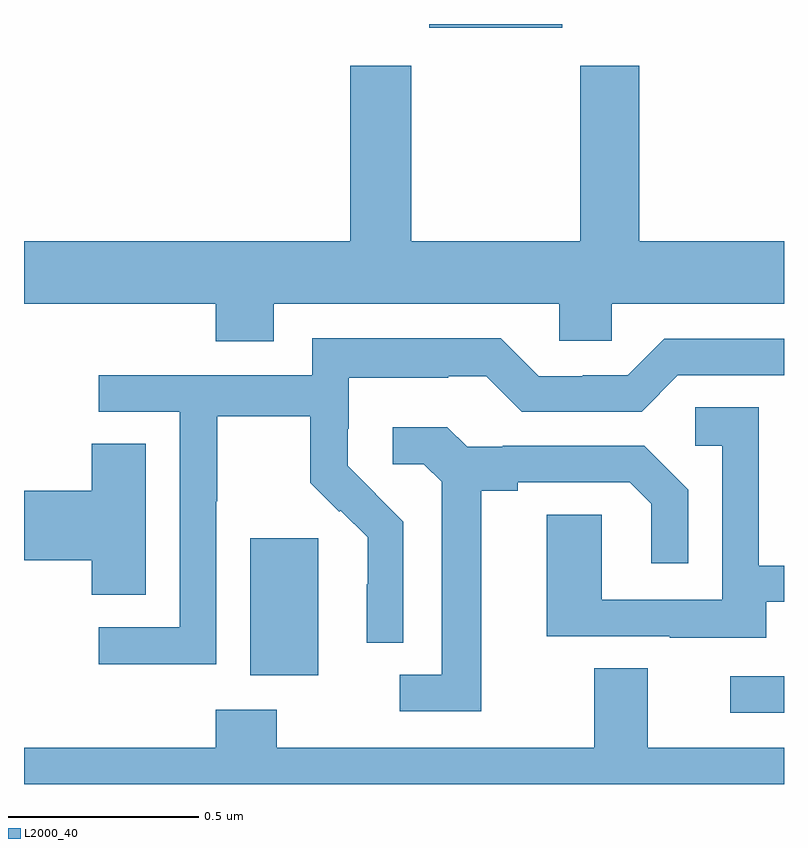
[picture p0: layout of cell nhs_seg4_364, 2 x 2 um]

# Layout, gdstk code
import gdstk
lib = gdstk.Library(unit=1e-6, precision=1e-09)
def R(c, l, rs):  # rectangles x0, y0, x1, y1
    for r in rs: c.add(gdstk.rectangle(r[:2], r[2:], *l))
def P(c, l, *ps):  # polygons
    for p in ps: c.add(gdstk.Polygon(p, *l))
L2000_40 = (2000, 40)

nhs_seg4_364 = lib.new_cell('nhs_seg4_364')
R(nhs_seg4_364, L2000_40, [(116.859,785.088,117,785.184), (115.595,785.186,115.774,785.547), (116.066,786.89,116.416,786.9)])
P(nhs_seg4_364, L2000_40, [(115.657,786.164),(116.409,786.164),(116.409,786.066),(116.547,786.066),(116.547,786.164),(117,786.164),(117,786.328),(116.619,786.328),(116.619,786.79),(116.464,786.79),(116.464,786.328),(116.019,786.328),(116.019,786.79),(115.859,786.79),(115.859,786.328),(115,786.328),(115,786.164),(115.505,786.164),(115.505,786.065),(115.657,786.065)],
  [(115.506,785.644),(115.509,785.644),(115.509,785.868),(115.753,785.868),(115.753,785.693),(115.83,785.616),(115.833,785.619),(115.904,785.549),(115.904,785.426),(115.902,785.426),(115.902,785.272),(115.998,785.272),(115.998,785.59),(115.925,785.663),(115.926,785.664),(115.852,785.738),(115.852,785.835),(115.854,785.835),(115.854,785.969),(116.117,785.969),(116.117,785.973),(116.217,785.973),(116.31,785.88),(116.625,785.88),(116.721,785.976),(117,785.976),(117,786.072),(116.685,786.072),(116.589,785.976),(116.471,785.976),(116.471,785.973),(116.355,785.973),(116.255,786.073),(115.758,786.073),(115.758,785.976),(115.197,785.976),(115.197,785.88),(115.41,785.88),(115.41,785.313),(115.197,785.313),(115.197,785.215),(115.506,785.215)],
  [(116.953,785.379),(117,785.379),(117,785.475),(116.934,785.475),(116.934,785.891),(116.766,785.891),(116.766,785.79),(116.838,785.79),(116.838,785.385),(116.52,785.385),(116.52,785.609),(116.375,785.609),(116.375,785.289),(116.699,785.289),(116.699,785.285),(116.953,785.285)],
  [(116.203,785.672),(116.299,785.672),(116.299,785.694),(116.594,785.694),(116.651,785.637),(116.651,785.481),(116.748,785.481),(116.748,785.674),(116.632,785.79),(116.26,785.79),(116.26,785.787),(116.166,785.787),(116.114,785.839),(115.971,785.839),(115.971,785.742),(116.052,785.742),(116.099,785.695),(116.099,785.187),(115.989,785.187),(115.989,785.091),(116.203,785.091)],
  [(115.321,785.795),(115.178,785.795),(115.178,785.672),(115,785.672),(115,785.489),(115.178,785.489),(115.178,785.398),(115.321,785.398)],
  [(117,784.996),(116.641,784.996),(116.641,785.204),(116.501,785.204),(116.501,784.996),(115.665,784.996),(115.665,785.095),(115.505,785.095),(115.505,784.996),(115,784.996),(115,784.9),(117,784.9)])

lib.write_gds('nhs_seg4_364.gds')
